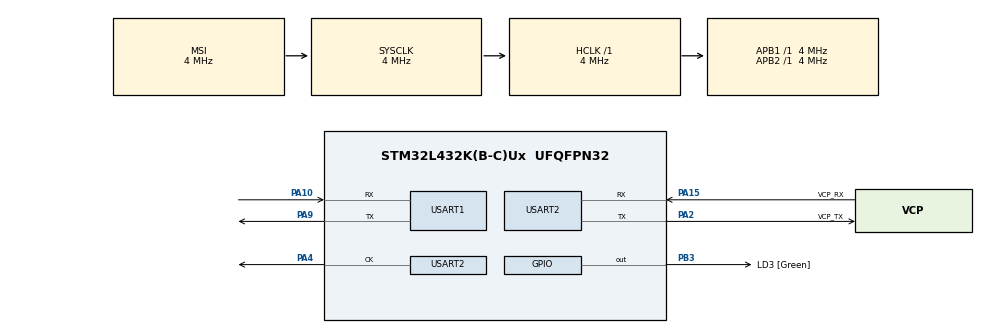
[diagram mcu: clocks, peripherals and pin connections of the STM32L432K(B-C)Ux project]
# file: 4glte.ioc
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Mcu.Family=STM32L4
Mcu.Name=STM32L432K(B-C)Ux
Mcu.Package=UFQFPN32
NVIC.PriorityGroup=NVIC_PRIORITYGROUP_4
NVIC.USART1_IRQn=true\:0\:0\:false\:false\:true\:true\:true\:true
NVIC.USART2_IRQn=true\:0\:0\:false\:false\:true\:true\:true\:true
PA0.GPIO_Label=MCO [High speed clock in]
PA0.Mode=HSE-External-Clock-Source-for-LittleOrca
PA0.Signal=RCC_CK_IN
PA10.Mode=Asynchronous
PA10.Signal=USART1_RX
PA13\ (JTMS-SWDIO).GPIO_Label=SWDIO
PA13\ (JTMS-SWDIO).Mode=Serial_Wire
PA13\ (JTMS-SWDIO).Signal=SYS_JTMS-SWDIO
PA14\ (JTCK-SWCLK).GPIO_Label=SWCLK
PA14\ (JTCK-SWCLK).Mode=Serial_Wire
PA14\ (JTCK-SWCLK).Signal=SYS_JTCK-SWCLK
PA15\ (JTDI).GPIO_Label=VCP_RX
PA15\ (JTDI).Mode=Synchronous
PA15\ (JTDI).Signal=USART2_RX
PA2.GPIO_Label=VCP_TX
PA2.Mode=Synchronous
PA2.Signal=USART2_TX
PA4.Mode=Synchronous
PA4.Signal=USART2_CK
PA9.Mode=Asynchronous
PA9.Signal=USART1_TX
PB3\ (JTDO-TRACESWO).GPIO_Label=LD3 [Green]
PB3\ (JTDO-TRACESWO).Signal=GPIO_Output
PC14-OSC32_IN\ (PC14).Mode=LSE-External-Oscillator
PC14-OSC32_IN\ (PC14).Signal=RCC_OSC32_IN
PC15-OSC32_OUT\ (PC15).Mode=LSE-External-Oscillator
PC15-OSC32_OUT\ (PC15).Signal=RCC_OSC32_OUT
ProjectManager.HeapSize=0x200
ProjectManager.StackSize=0x400
ProjectManager.TargetToolchain=STM32CubeIDE
RCC.ADCFreq_Value=16000000
RCC.AHBFreq_Value=4000000
RCC.APB1Freq_Value=4000000
RCC.APB1TimFreq_Value=4000000
RCC.APB2Freq_Value=4000000
RCC.APB2TimFreq_Value=4000000
RCC.CortexFreq_Value=4000000
RCC.HCLKFreq_Value=4000000
RCC.HSE_VALUE=8000000
RCC.HSI16_VALUE=16000000
RCC.HSI48_VALUE=48000000
RCC.HSI_VALUE=16000000
RCC.MSI_VALUE=4000000
RCC.PLLMUL=RCC_PLLMUL_4
RCC.PLLN=16
RCC.SYSCLKFreq_VALUE=4000000
RCC.USBFreq_Value=16000000
RCC.VCOOutputFreq_Value=64000000
USART1.VirtualMode-Asynchronous=VM_ASYNC
USART2.VirtualMode-Synchronous=VM_SYNC
VP_RTC_VS_RTC_Activate.Mode=RTC_Enabled
board=NUCLEO-L432KC

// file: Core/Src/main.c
/* USER CODE BEGIN Header */
/**
  ******************************************************************************
  * @file           : main.c
  * @brief          : Main program body
  ******************************************************************************
  * @attention
  *
  * Copyright (c) 2024 STMicroelectronics.
  * All rights reserved.
  *
  * This software is licensed under terms that can be found in the LICENSE file
  * in the root directory of this software component.
  * If no LICENSE file comes with this software, it is provided AS-IS.
  *
  ******************************************************************************
  */
/* USER CODE END Header */
#include "main.h"

/* USER CODE BEGIN Includes */
#include "led.h"
#include "send_data.h"
#include "internet_impl.h"
#include "http_impl.h"

/* USER CODE END Includes */

RTC_HandleTypeDef hrtc;

UART_HandleTypeDef huart1;
USART_HandleTypeDef husart2;

void SystemClock_Config(void);
static void MX_GPIO_Init(void);
static void MX_USART2_Init(void);
static void MX_USART1_UART_Init(void);
static void MX_RTC_Init(void);

int main(void)
{

  /* MCU Configuration--------------------------------------------------------*/

  /* Reset of all peripherals, Initializes the Flash interface and the Systick. */
  HAL_Init();

  /* Configure the system clock */
  SystemClock_Config();

  /* Initialize all configured peripherals */
  MX_GPIO_Init();
  MX_USART2_Init();
  MX_USART1_UART_Init();
  MX_RTC_Init();
  /* USER CODE BEGIN 2 */
/*
  char test[20];
  sprintf(test, "Hello. Testing Standby Mode!\r\n");

  HAL_USART_Transmit(&husart2, (uint8_t*)test, strlen(test), 1000);

  char *str = "About to enter STANDBY MODE\r\n";
  HAL_USART_Transmit(&husart2, (uint8_t *)str, strlen(str), HAL_MAX_DELAY);

  // Disable Wake up Pin
   HAL_PWR_EnableWakeUpPin(PWR_WAKEUP_PIN1);

      /*  RTC Wake-up Interrupt Generation:
            Wake-up Time Base = (RTC_WAKEUPCLOCK_RTCCLK_DIV /(LSI))
            ==> WakeUpCounter = Wake-up Time / Wake-up Time Base

            To configure the wake up timer to 5s the WakeUpCounter is set to 0x2710:
            RTC_WAKEUPCLOCK_RTCCLK_DIV = RTCCLK_Div16 = 16
            Wake-up Time Base = 16 /(32KHz) = 0.0005 seconds
            ==> WakeUpCounter = ~ 30s/0.0005s = 60000 = 0xEA60
            2 min ~ 240000 =0x3A980
            5 min ~ 600000 = 0x927C0
            3600 S ~ 7200000 = 0X6DDD00
          */
/*
  if(HAL_RTCEx_SetWakeUpTimer_IT(&hrtc, 0x927C0, RTC_WAKEUPCLOCK_RTCCLK_DIV16) != HAL_OK)
  {
	  Error_Handler();
  }

  char *str2 = "STANDBY MODE is on\r\n";
  HAL_USART_Transmit(&husart2, (uint8_t *)str2, strlen(str2), HAL_MAX_DELAY);
  HAL_PWR_EnterSTANDBYMode();

  if(__HAL_PWR_GET_FLAG(PWR_FLAG_SB) != RESET)
   {
  	  __HAL_PWR_CLEAR_FLAG(PWR_FLAG_SB); // clear flag
  	  char *str = "Wake up from STANDBY MODE\r\n";
  	  HAL_USART_Transmit(&husart2, (uint8_t *)str, strlen(str), HAL_MAX_DELAY);
  	 boardled_on();
  	 send_at();
  	 check_status();
  	 start_service();
  	 get_ipaddr();
  	 http_get();
  	 http_post();
     stop_service();
  	 boardled_off();
  	 HAL_Delay(200);

  	  // Disable Wake up Pin
  	  HAL_PWR_DisableWakeUpPin(PWR_WAKEUP_PIN1);

  	  //Deactivate RTC Wake up
  	  __HAL_RTC_WAKEUPTIMER_CLEAR_FLAG(&hrtc, RTC_ISR_WUTF);
    }

    // Enter standby mode
    // Clear WU flag
    __HAL_PWR_CLEAR_FLAG(PWR_FLAG_WU);
*/
  char test[20];
     sprintf(test, "Hello. Testing Standby Mode!\r\n");

     HAL_USART_Transmit(&husart2, (uint8_t*)test, strlen(test), 1000);

       if(__HAL_PWR_GET_FLAG(PWR_FLAG_SB) != RESET)
       {
     	  __HAL_PWR_CLEAR_FLAG(PWR_FLAG_SB); // clear flag
     	  char *str = "Wake up from STANDBY MODE\r\n";
     	  HAL_USART_Transmit(&husart2, (uint8_t *)str, strlen(str), HAL_MAX_DELAY);

     	 // Blink LED
     	  /*
     		  for(int i = 0; i<20; i++)
     		  {
     			  	  HAL_GPIO_TogglePin(GPIOB,GPIO_PIN_3);
     			  	  HAL_Delay(200);
     		  }*/
     	   boardled_on();
     	   send_at();
     	   check_status();
     	  //start_service();
     	 // get_ipaddr();
     	  //http_get();
     	  //http_post();
     	  //stop_service();
     	    boardled_off();
     	  //HAL_Delay(200);

     	  // Disable Wake up Pin
     	  HAL_PWR_DisableWakeUpPin(PWR_WAKEUP_PIN1);

     	  //Deactivate RTC Wake up
     	  HAL_RTCEx_DeactivateWakeUpTimer(&hrtc);
       }

       // Enter standby mode
       // Clear WU flag
       __HAL_PWR_CLEAR_FLAG(PWR_FLAG_WU);
       // Clear RTC Wake Up (WU) flag
       __HAL_RTC_WAKEUPTIMER_CLEAR_FLAG(&hrtc, RTC_ISR_WUTF);

       char *str = "About to enter STANDBY MODE\r\n";
       HAL_USART_Transmit(&husart2, (uint8_t *)str, strlen(str), HAL_MAX_DELAY);

       // Blink LED
/*
       for(int i = 0; i<5; i++)
       {
     	  HAL_GPIO_TogglePin(GPIOB,GPIO_PIN_3);
       	  HAL_Delay(750);
       }*/

       // Disable Wake up Pin
       HAL_PWR_EnableWakeUpPin(PWR_WAKEUP_PIN1);

       if(HAL_RTCEx_SetWakeUpTimer_IT(&hrtc, 120 , RTC_WAKEUPCLOCK_CK_SPRE_16BITS) != HAL_OK)
       {
     	  Error_Handler();
       }

       char *str2 = "STANDBY MODE is on\r\n";
       HAL_USART_Transmit(&husart2, (uint8_t *)str2, strlen(str2), HAL_MAX_DELAY);
       HAL_PWR_EnterSTANDBYMode();

  /* USER CODE END 2 */

  /* Infinite loop */
  while (1)
  {

  }
}

void SystemClock_Config(void)
{
  RCC_OscInitTypeDef RCC_OscInitStruct = {0};
  RCC_ClkInitTypeDef RCC_ClkInitStruct = {0};

  /** Configure the main internal regulator output voltage
  */
  if (HAL_PWREx_ControlVoltageScaling(PWR_REGULATOR_VOLTAGE_SCALE1) != HAL_OK)
  {
    Error_Handler();
  }

  /** Configure LSE Drive Capability
  */
  HAL_PWR_EnableBkUpAccess();
  __HAL_RCC_LSEDRIVE_CONFIG(RCC_LSEDRIVE_LOW);

  /** Initializes the RCC Oscillators according to the specified parameters
  * in the RCC_OscInitTypeDef structure.
  */
  RCC_OscInitStruct.OscillatorType = RCC_OSCILLATORTYPE_LSI|RCC_OSCILLATORTYPE_LSE
                              |RCC_OSCILLATORTYPE_MSI;
  RCC_OscInitStruct.LSEState = RCC_LSE_ON;
  RCC_OscInitStruct.LSIState = RCC_LSI_ON;
  RCC_OscInitStruct.MSIState = RCC_MSI_ON;
  RCC_OscInitStruct.MSICalibrationValue = 0;
  RCC_OscInitStruct.MSIClockRange = RCC_MSIRANGE_6;
  RCC_OscInitStruct.PLL.PLLState = RCC_PLL_NONE;
  if (HAL_RCC_OscConfig(&RCC_OscInitStruct) != HAL_OK)
  {
    Error_Handler();
  }

  /** Initializes the CPU, AHB and APB buses clocks
  */
  RCC_ClkInitStruct.ClockType = RCC_CLOCKTYPE_HCLK|RCC_CLOCKTYPE_SYSCLK
                              |RCC_CLOCKTYPE_PCLK1|RCC_CLOCKTYPE_PCLK2;
  RCC_ClkInitStruct.SYSCLKSource = RCC_SYSCLKSOURCE_MSI;
  RCC_ClkInitStruct.AHBCLKDivider = RCC_SYSCLK_DIV1;
  RCC_ClkInitStruct.APB1CLKDivider = RCC_HCLK_DIV1;
  RCC_ClkInitStruct.APB2CLKDivider = RCC_HCLK_DIV1;

  if (HAL_RCC_ClockConfig(&RCC_ClkInitStruct, FLASH_LATENCY_0) != HAL_OK)
  {
    Error_Handler();
  }

  /** Enable MSI Auto calibration
  */
  HAL_RCCEx_EnableMSIPLLMode();
}

static void MX_RTC_Init(void)
{

  /** Initialize RTC Only
  */
  hrtc.Instance = RTC;
  hrtc.Init.HourFormat = RTC_HOURFORMAT_24;
  hrtc.Init.AsynchPrediv = 127;
  hrtc.Init.SynchPrediv = 255;
  hrtc.Init.OutPut = RTC_OUTPUT_DISABLE;
  hrtc.Init.OutPutRemap = RTC_OUTPUT_REMAP_NONE;
  hrtc.Init.OutPutPolarity = RTC_OUTPUT_POLARITY_HIGH;
  hrtc.Init.OutPutType = RTC_OUTPUT_TYPE_OPENDRAIN;
  if (HAL_RTC_Init(&hrtc) != HAL_OK)
  {
    Error_Handler();
  }

}

static void MX_USART1_UART_Init(void)
{

  huart1.Instance = USART1;
  huart1.Init.BaudRate = 115200;
  huart1.Init.WordLength = UART_WORDLENGTH_8B;
  huart1.Init.StopBits = UART_STOPBITS_1;
  huart1.Init.Parity = UART_PARITY_NONE;
  huart1.Init.Mode = UART_MODE_TX_RX;
  huart1.Init.HwFlowCtl = UART_HWCONTROL_NONE;
  huart1.Init.OverSampling = UART_OVERSAMPLING_16;
  huart1.Init.OneBitSampling = UART_ONE_BIT_SAMPLE_DISABLE;
  huart1.AdvancedInit.AdvFeatureInit = UART_ADVFEATURE_NO_INIT;
  if (HAL_UART_Init(&huart1) != HAL_OK)
  {
    Error_Handler();
  }

}

static void MX_USART2_Init(void)
{

  husart2.Instance = USART2;
  husart2.Init.BaudRate = 115200;
  husart2.Init.WordLength = USART_WORDLENGTH_8B;
  husart2.Init.StopBits = USART_STOPBITS_1;
  husart2.Init.Parity = USART_PARITY_NONE;
  husart2.Init.Mode = USART_MODE_TX_RX;
  husart2.Init.CLKPolarity = USART_POLARITY_LOW;
  husart2.Init.CLKPhase = USART_PHASE_1EDGE;
  husart2.Init.CLKLastBit = USART_LASTBIT_DISABLE;
  if (HAL_USART_Init(&husart2) != HAL_OK)
  {
    Error_Handler();
  }

}

static void MX_GPIO_Init(void)
{
  GPIO_InitTypeDef GPIO_InitStruct = {0};

  /* GPIO Ports Clock Enable */
  __HAL_RCC_GPIOC_CLK_ENABLE();
  __HAL_RCC_GPIOA_CLK_ENABLE();
  __HAL_RCC_GPIOB_CLK_ENABLE();

  /*Configure GPIO pin Output Level */
  HAL_GPIO_WritePin(LD3_GPIO_Port, LD3_Pin, GPIO_PIN_RESET);

  /*Configure GPIO pin : LD3_Pin */
  GPIO_InitStruct.Pin = LD3_Pin;
  GPIO_InitStruct.Mode = GPIO_MODE_OUTPUT_PP;
  GPIO_InitStruct.Pull = GPIO_NOPULL;
  GPIO_InitStruct.Speed = GPIO_SPEED_FREQ_LOW;
  HAL_GPIO_Init(LD3_GPIO_Port, &GPIO_InitStruct);

}

void Error_Handler(void)
{
  __disable_irq();
  while (1)
  {
  }
}
